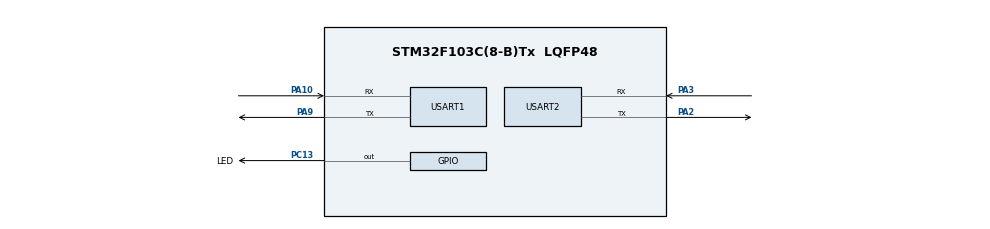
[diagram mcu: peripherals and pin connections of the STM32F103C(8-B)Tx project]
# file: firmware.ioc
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Mcu.Family=STM32F1
Mcu.Name=STM32F103C(8-B)Tx
Mcu.Package=LQFP48
NVIC.PriorityGroup=NVIC_PRIORITYGROUP_4
NVIC.TIM2_IRQn=true\:0\:0\:true\:false\:true\:true\:true\:true
NVIC.TIM3_IRQn=true\:1\:0\:true\:false\:true\:true\:true\:true
NVIC.USART1_IRQn=true\:0\:0\:true\:false\:true\:true\:true\:true
PA10.Mode=Asynchronous
PA10.Signal=USART1_RX
PA13.Mode=Serial_Wire
PA13.Signal=SYS_JTMS-SWDIO
PA14.Mode=Serial_Wire
PA14.Signal=SYS_JTCK-SWCLK
PA2.Mode=Asynchronous
PA2.Signal=USART2_TX
PA3.Mode=Asynchronous
PA3.Signal=USART2_RX
PA9.Mode=Asynchronous
PA9.Signal=USART1_TX
PC13-TAMPER-RTC.GPIO_Label=LED
PC13-TAMPER-RTC.PinState=GPIO_PIN_SET
PC13-TAMPER-RTC.Signal=GPIO_Output
PD0-OSC_IN.Mode=HSE-External-Oscillator
PD0-OSC_IN.Signal=RCC_OSC_IN
PD1-OSC_OUT.Mode=HSE-External-Oscillator
PD1-OSC_OUT.Signal=RCC_OSC_OUT
ProjectManager.HeapSize=0x200
ProjectManager.StackSize=0x400
ProjectManager.TargetToolchain=CMake
RCC.AHBFreq_Value=72000000
RCC.APB1CLKDivider=RCC_HCLK_DIV2
RCC.APB1Freq_Value=36000000
RCC.APB1TimFreq_Value=72000000
RCC.APB2Freq_Value=72000000
RCC.APB2TimFreq_Value=72000000
RCC.HCLKFreq_Value=72000000
RCC.PLLMUL=RCC_PLL_MUL9
RCC.PLLSourceVirtual=RCC_PLLSOURCE_HSE
RCC.SYSCLKFreq_VALUE=72000000
RCC.SYSCLKSource=RCC_SYSCLKSOURCE_PLLCLK
RCC.USBFreq_Value=72000000
TIM2.Period=999
TIM2.Prescaler=71
TIM3.Period=65535
TIM3.Prescaler=71
USART1.VirtualMode=VM_ASYNC
USART2.VirtualMode=VM_ASYNC
VP_TIM2_VS_ClockSourceINT.Mode=Internal
VP_TIM3_VS_ClockSourceINT.Mode=Internal
board=custom

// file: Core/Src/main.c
/* USER CODE BEGIN Header */
/**
 ******************************************************************************
 * @file           : main.c
 * @brief          : Main program body
 ******************************************************************************
 * @attention
 *
 * Copyright (c) 2026 STMicroelectronics.
 * All rights reserved.
 *
 * This software is licensed under terms that can be found in the LICENSE file
 * in the root directory of this software component.
 * If no LICENSE file comes with this software, it is provided AS-IS.
 *
 ******************************************************************************
 */
/* USER CODE END Header */
#include "main.h"
#include "tim.h"
#include "usart.h"
#include "gpio.h"

/* USER CODE BEGIN Includes */
#include <stdint.h>
#include <string.h>
#include <blinky.h>
#include <flash_storage.h>
#include <vscp-fifo.h>
#include <vscp-firmware-helper.h>
#include <vscp-firmware-level2.h>
#include <vscp-link-protocol.h>
#include <vscp-binary-protocol.h>
#include <vscp-link-protocol-callbacks.h>
/* USER CODE END Includes */

/* USER CODE BEGIN PTD */

typedef enum {
  VSCP_STATE_DISCONNECTED = 0, /**< Waiting for a client to connect    */
  VSCP_STATE_CONNECTED,        /**< Client connected, processing cmds  */
} vscp_state_t;

typedef enum {
  VSCP_SUBSTATE_POLL = 0, /**< Polling state */
  VSCP_SUBSTATE_AUTO,     /**< RETR mode */
} vscp_substate_t;

/* USER CODE END PTD */

/* USER CODE BEGIN PD */

// ** Check so one and only one build type is enabled **

/* Convert each define to 0 or 1 */
#ifdef BLINKY_MODE_TCP_SERVER
#define _MODE_TCP_SERVER 1
#else
#define _MODE_TCP_SERVER 0
#endif

#ifdef BLINKY_DEMO_MODE_TCP_CLIENT
#define _OPT_MODE_TCP_CLIENT 1
#else
#define _OPT_MODE_TCP_CLIENT 0
#endif

#ifdef BLINKY_DEMO_MODE_UDP
#define _OPT_MODE_UDP 1
#else
#define _OPT_MODE_UDP 0
#endif

#ifdef BLINKY_DEMO_MODE_MULTICAST
#define _OPT_MODE_MULTICAST 1
#else
#define _OPT_MODE_MULTICAST 0
#endif

#ifdef BLINKY_DEMO_MODE_MQTT
#define _OPT_MODE_MQTT 1
#else
#define _OPT_MODE_MQTT 0
#endif

#define _OPT_COUNT (_MODE_TCP_SERVER + _OPT_MODE_TCP_CLIENT + _OPT_MODE_UDP + _OPT_MODE_MULTICAST + _OPT_MODE_MQTT)

#if _OPT_COUNT > 1
#error                                                                                                                 \
  "Only one of BLINKY_MODE_TCP_SERVER/BLINKY_DEMO_MODE_TCP_CLIENT/BLINKY_DEMO_MODE_UDP/BLINKY_DEMO_MODE_MULTICAST/BLINKY_DEMO_MODE_MQTT may be defined at a time"
#endif

#if _OPT_COUNT != 1
#error                                                                                                                 \
  "Exactly one of BLINKY_MODE_TCP_SERVER/BLINKY_DEMO_MODE_TCP_CLIENT/BLINKY_DEMO_MODE_UDP/BLINKY_DEMO_MODE_MULTICAST/BLINKY_DEMO_MODE_MQTT must be defined"
#endif

/* USER CODE END PD */

/* USER CODE BEGIN PV */

/* Ring buffer for IRQ-driven UART1 RX ------------------------------------ */
#define UART1_RX_BUF_SIZE 2048u /* must be a power of 2 */
static uint8_t uart1_rx_buf[UART1_RX_BUF_SIZE];
static volatile uint16_t uart1_rx_head = 0; /* written by ISR/callback     */
static volatile uint16_t uart1_rx_tail = 0; /* read  by main loop          */
static uint8_t uart1_rx_byte;               /* single-byte DMA target      */

//----------------------------------------------------------------------------
//                         VSCP Link Protocol
//----------------------------------------------------------------------------

/*
  Connect callbacks in op table. This table is passed to the VSCP link protocol handler
  and defines the behavior for various operations.
*/
static const vscp_link_ops_t link_ops = {
  /* ── Transport ──────────────────────────────────────────────── */
  .write_client = vscp_link_callback_write_client,
  .disconnect   = vscp_link_callback_disconnect,
  .quit         = vscp_link_callback_quit,
  .welcome      = vscp_link_callback_welcome,

  /* ── Authentication ─────────────────────────────────────────── */
  .check_user          = vscp_link_callback_check_user,
  .check_password      = vscp_link_callback_check_password,
  .challenge           = vscp_link_callback_challenge,
  .check_authenticated = vscp_link_callback_check_authenticated,
  .check_privilege     = vscp_link_callback_check_privilege,

  /* ── Event I/O ──────────────────────────────────────────────── */
  .send               = vscp_link_callback_send,
  .chkdata            = vscp_link_callback_chkData,
  .clrall             = vscp_link_callback_clrall,
  .retr               = vscp_link_callback_retr,
  .rcvloop            = vscp_link_callback_rcvloop,
  .enable_rcvloop     = vscp_link_callback_enable_rcvloop,
  .get_rcvloop_status = vscp_link_callback_get_rcvloop_status,

  /* ── Node information ───────────────────────────────────────── */
  .get_guid       = vscp_link_callback_get_guid,
  .set_guid       = vscp_link_callback_set_guid,
  .get_version    = vscp_link_callback_get_version,
  .get_channel_id = vscp_link_callback_get_channel_id,
  .wcyd           = vscp_link_callback_wcyd,
  .statistics     = vscp_link_callback_statistics,
  .info           = vscp_link_callback_info,

  /* ── Filter / buffer ────────────────────────────────────────── */
  .set_filter = vscp_link_callback_setFilter,
  .set_mask   = vscp_link_callback_setMask,

  /* ── Interfaces ─────────────────────────────────────────────── */
  .get_interface_count = vscp_link_callback_get_interface_count,
  .get_interface       = vscp_link_callback_get_interface,
  .close_interface     = vscp_link_callback_close_interface,

  /* ── Misc ────────────────────────────────────────────────────── */
  .help_custom = NULL, // OR vscp_link_callback_help,
  .test        = vscp_link_callback_test,
  .shutdown    = vscp_link_callback_shutdown,
  .restart     = vscp_link_callback_restart,

  /* ── Binary mode ─────────────────────────────────────────────── */
  .binary = NULL // vscp_link_callback_binary,
};

/* Context for each possible client connection  */
static vscp_link_ctx_t ctx_link = {
  .next              = NULL,
  .ops               = &link_ops,
  .id                = 0,
  .sock              = 0,
  .guid              = { 0 },
  .user              = { 0 },
  .fifoEventsIn      = { 0 },
  .fifoEventsOut     = { 0 },
  .bValidated        = 0,
  .bRcvLoop          = 0,
  .privLevel         = 0,
  .filter            = { 0 },
  .statistics        = { 0 },
  .status            = { 0 },
  .last_rcvloop_time = 0,
  .user_data         = NULL,
};

//----------------------------------------------------------------------------
//                         VSCP Binary Protocol
//----------------------------------------------------------------------------

/* Binary context for each possible client connection */
static vscp_binary_ctx_t ctx_binary = { 0 };

//----------------------------------------------------------------------------
//                         VSCP Protocol
//----------------------------------------------------------------------------

/* Context for VSCP Level II protocol stack */
static vscp_frmw2_firmware_context_t ctx_firmware = {
  .level    = VSCP_LEVEL2,
  .state    = FRMW2_STATE_NONE,
  .substate = 0,
};

node_persistent_config_t g_persistent;

volatile uint32_t msTicks = 0U; /* incremented every 1 ms by TIM2 ISR */

/* USER CODE END PV */

void
SystemClock_Config(void);
/* USER CODE BEGIN PFP */
static void
uart1_rx_start(void);
static int
uart1_rx_getline(char *out, size_t max_len, uint16_t timeout_ms);
static int
uart1_rx_wait_for(const char *needle, uint16_t timeout_ms);
static int
uart1_rx_scan(const char *needle);
static void
uart1_rx_consume_through(const char *needle);
void
setContextDefaults(ctx_t *pctx);
/* USER CODE END PFP */

/* USER CODE BEGIN 0 */
#include <stdio.h>
#include "usart.h"

//////////////////////////////////////////////////////////////////////////
// Retargeting printf to USART2 for debug output.
// This allows us to use LOGSTR() to send data over USART2,
// which can be useful for debugging purposes. The __io_putchar
// function is called by the LOGSTR() function to output each character,
// and it uses the HAL_UART_Transmit function to send the character over
// USART2. Make sure that USART2 is properly initialized and configured in
// your project for this to work correctly.
//

/*!
 * @brief  Retargets the C library printf function to the USART.
 * @param  ch: Character to be transmitted.
 * @retval The character that was transmitted.
 */

int
__io_putchar(int ch)
{
  HAL_UART_Transmit(&huart2, (uint8_t *) &ch, 1, HAL_MAX_DELAY);
  return ch;
}

/*!
 * @brief  Retargets the C library printf function to the USART.
 * @param  file: File descriptor (not used).
 * @param  ptr: Pointer to the data to be written.
 * @param  len: Length of the data to be written.
 * @retval Number of bytes written.
 */

int
_write(int file, char *ptr, int len)
{
  for (int i = 0; i < len; i++) {
    __io_putchar(*ptr++);
  }
  return len;
}

/*!
 * @brief  Get UART response with timeout (blocking, used during AT init only).
 * @param  buf: Buffer to store the received data.
 * @param  buf_size: Size of the buffer.
 * @param  timeout_ms: Timeout in milliseconds.
 * @retval Number of bytes received, or 0 on timeout.
 */

static size_t
getWizIp20Response(char *buf, size_t buf_size, uint32_t timeout_ms)
{
  memset(buf, 0, buf_size);
  uint16_t rx_len = 0;
  HAL_UARTEx_ReceiveToIdle(&huart1, (uint8_t *) buf, (uint16_t) (buf_size - 1), &rx_len, timeout_ms);
  if (rx_len > 0) {
    buf[rx_len] = '\0';
    LOGSTR("IP20 response: %s\r\n", buf);
  }
  return rx_len;
}

/*!
 * @brief  Re-arm UART1 IRQ for one byte.  Call once at startup and again
 *         from HAL_UART_RxCpltCallback.
 */

static void
uart1_rx_start(void)
{
  HAL_UART_Receive_IT(&huart1, &uart1_rx_byte, 1);
}

/*!
 * @brief  HAL callback – fires after each byte received via UART1 IT.
 *         Stores the byte in the ring buffer and re-arms the IRQ.
 */

void
HAL_UART_RxCpltCallback(UART_HandleTypeDef *huart)
{
  if (huart->Instance == USART1) {
    uint16_t next = (uart1_rx_head + 1u) & (UART1_RX_BUF_SIZE - 1u);
    if (next != uart1_rx_tail) { /* drop byte if buffer full */
      uart1_rx_buf[uart1_rx_head] = uart1_rx_byte;
      uart1_rx_head               = next;
    }
    uart1_rx_start(); /* re-arm for next byte     */
  }
}

/*!
 * @brief  Fetch a \r\n-terminated string from the UART1 ring buffer.
 *
 * The buffer is only consumed when a complete \r\n line is available,
 * so partial data is never discarded on timeout.
 *
 * @param  out        Destination buffer; null-terminated on success.
 * @param  max_len    Size of @p out in bytes (including the null terminator).
 * @param  timeout_ms Wait behaviour:
 *                      0x0000 – return immediately if no complete line yet
 *                      0x0001…0xFFFE – wait up to N milliseconds
 *                      0xFFFF – wait forever
 * @retval  0   A complete \r\n-terminated line was copied into @p out.
 * @retval -1   No complete line available within the specified timeout.
 */

static int
uart1_rx_getline(char *out, size_t max_len, uint16_t timeout_ms)
{
  /* Scan the ring buffer for \r\n without consuming any bytes yet. */
  for (;;) {
    /* --- peek: is there a \r\n somewhere in the buffer? --- */
    uint16_t head  = uart1_rx_head; /* snapshot (volatile, read once) */
    uint16_t idx   = uart1_rx_tail;
    uint8_t found  = 0;
    uint16_t eol   = 0; /* index of '\n' in ring buffer   */
    uint16_t count = 0; /* bytes up to and including '\n' */

    while (idx != head) {
      uint8_t ch = uart1_rx_buf[idx];
      count++;
      if (ch == '\n' && count >= 2 && uart1_rx_buf[(idx - 1u) & (UART1_RX_BUF_SIZE - 1u)] == '\r') {
        found = 1;
        eol   = idx;
        break;
      }
      idx = (idx + 1u) & (UART1_RX_BUF_SIZE - 1u);
    }

    if (found) {
      /* Consume bytes up to and including the '\n'. */
      size_t pos = 0;
      idx        = uart1_rx_tail;
      while (1) {
        uint8_t ch = uart1_rx_buf[idx];
        if (pos < max_len - 1u) {
          out[pos++] = (char) ch;
        }
        idx           = (idx + 1u) & (UART1_RX_BUF_SIZE - 1u);
        uart1_rx_tail = idx;
        if (idx == (uint16_t) ((eol + 1u) & (UART1_RX_BUF_SIZE - 1u)))
          break;
      }
      out[pos] = '\0';
      return 0;
    }

    /* No complete line yet – handle timeout. */
    if (timeout_ms == 0u) {
      return -1; /* no-wait: fail immediately      */
    }
    if (timeout_ms == 0xFFFFu) {
      continue; /* wait forever: keep polling     */
    }

    /* Finite timeout: spin until deadline or line arrives. */
    uint32_t deadline = HAL_GetTick() + timeout_ms;
    while (HAL_GetTick() < deadline) {
      /* re-check ring buffer */
      head  = uart1_rx_head;
      idx   = uart1_rx_tail;
      found = 0;
      count = 0;
      while (idx != head) {
        uint8_t ch = uart1_rx_buf[idx];
        count++;
        if (ch == '\n' && count >= 2 && uart1_rx_buf[(idx - 1u) & (UART1_RX_BUF_SIZE - 1u)] == '\r') {
          found = 1;
          eol   = idx;
          break;
        }
        idx = (idx + 1u) & (UART1_RX_BUF_SIZE - 1u);
      }
      if (found)
        break;
    }
    if (!found)
      return -1; /* timed out                      */
    /* line arrived during finite wait – loop back to consume it        */
    timeout_ms = 0xFFFFu; /* force consume path next iter   */
  }
}

/*!
 * @brief  Wait until @p needle appears anywhere in a received line.
 *
 * Reads complete \r\n-terminated lines from the ring buffer one at a time
 * and checks whether @p needle is a substring of each line.
 * Lines that do not match are discarded.
 *
 * @param  needle      String to search for (case-sensitive substring match).
 * @param  timeout_ms  Same semantics as uart1_rx_getline:
 *                       0x0000 – return immediately if no matching line queued
 *                       0x0001–0xFFFE – wait up to N ms
 *                       0xFFFF – wait forever
 * @retval  0   A line containing @p needle was found.
 * @retval -1   Timeout elapsed without a matching line.
 */

static int __attribute__((unused))
uart1_rx_wait_for(const char *needle, uint16_t timeout_ms)
{
  static char line[100];
  uint32_t deadline = (timeout_ms != 0u && timeout_ms != 0xFFFFu) ? HAL_GetTick() + timeout_ms : 0u;

  for (;;) {
    /* How long to wait for the next line? */
    uint16_t line_timeout;
    if (timeout_ms == 0u) {
      line_timeout = 0u; /* no-wait              */
    }
    else if (timeout_ms == 0xFFFFu) {
      line_timeout = 0xFFFFu; /* wait forever         */
    }
    else {
      uint32_t now = HAL_GetTick();
      if (now >= deadline)
        return -1; /* overall timeout      */
      uint32_t left = deadline - now;
      line_timeout  = (left > 0xFFFEu) ? 0xFFFEu : (uint16_t) left;
    }

    if (uart1_rx_getline(line, sizeof(line), line_timeout) != 0) {
      return -1; /* no line / timed out  */
    }

    if (strstr(line, needle) != NULL) {
      return 0; /* match found          */
    }
    /* line didn't match – discard and try again (unless no-wait) */
    if (timeout_ms == 0u)
      return -1;
  }
}

/*!
 * @brief  Scan the ring buffer for @p needle without consuming any bytes.
 * @retval 0  Needle found in the buffer.
 * @retval -1 Needle not present.
 */

static int
uart1_rx_scan(const char *needle)
{
  size_t nlen   = strlen(needle);
  uint16_t head = uart1_rx_head; /* snapshot */
  uint16_t idx  = uart1_rx_tail;
  size_t mpos   = 0; /* match position within needle */

  while (idx != head) {
    if ((char) uart1_rx_buf[idx] == needle[mpos]) {
      mpos++;
      if (mpos == nlen)
        return 0; /* full match */
    }
    else {
      mpos = 0;
      /* re-check current char against needle[0] */
      if ((char) uart1_rx_buf[idx] == needle[0])
        mpos = 1;
    }
    idx = (idx + 1u) & (UART1_RX_BUF_SIZE - 1u);
  }
  return -1;
}

/*!
 * @brief  Consume bytes from the ring buffer up to and including the first occurrence of @p needle.
 *
 * This function scans the ring buffer for the first occurrence of @p needle (a string), and if found, advances the
 * tail pointer to consume all bytes up to and including that occurrence. If @p needle is not found, the buffer is
 * left unchanged.
 *
 * @param  needle  String to search for (case-sensitive substring match).
 */
static void
uart1_rx_consume_through(const char *needle)
{
  size_t nlen   = strlen(needle);
  uint16_t head = uart1_rx_head; /* snapshot */
  uint16_t idx  = uart1_rx_tail;
  size_t mpos   = 0;

  while (idx != head) {
    if ((char) uart1_rx_buf[idx] == needle[mpos]) {
      mpos++;
      idx = (idx + 1u) & (UART1_RX_BUF_SIZE - 1u);
      if (mpos == nlen) {
        uart1_rx_tail = idx; /* consume up to end of needle */
        return;
      }
    }
    else {
      mpos = 0;
      if ((char) uart1_rx_buf[idx] == needle[0]) {
        mpos = 1;
      }
      idx = (idx + 1u) & (UART1_RX_BUF_SIZE - 1u);
    }
  }
}

/*!
 * @brief  Get the unique identifier and set (GUID) for the device.
 *
 * VSCP reserves a group of GUID's for MCU's with a built-in unique ID,
 * where the GUID is constructed from a fixed prefix.
 *
 * One other possibility was to use the WIZnet's MAC address and the
 * reserved GUID prefix to construct a GUID built here we use the unique
 * MCU ID instead since it's guaranteed to be unique and doesn't require
 * an extra step to read the MAC address from the WIZnet.
 *
 * More info on VSCP GUID construction for MCU-based devices here:
 * https://grodansparadis.github.io/vscp-doc-spec/#/./vscp_globally_unique_identifiers
 *
 *This GUID is constructed like this
 *
 * FD:AA:BB:YY:YY:YY:YY:YY:YY:YY:YY:YY:YY:YY:YY:YY
 *
 * AA is a manufacturer code assigned by VSCP (02 for STMicroelectronics)
 *
 * BB is a device type code assigned by VSCP (01 for STM32)
 *
 * The 13 byte YY:YY:YY:YY:YY:YY:YY:YY:YY:YY:YY:YY:YY is something we can
 * define freely as long as it's unique for each device. We can get 12 byte
 * from the unique MCU ID using the HAL_GetUIDw0(), HAL_GetUIDw1(),
 * and HAL_GetUIDw2() functions. Then we can set the last byte to zero.
 *
 * @param  pguid: Pointer to a 16-byte array where the GUID will be stored.
 */

void
setGUID(uint8_t *pguid)
{
  uint32_t uid;

  memset(pguid, 0, 16); /* Clear the GUID buffer */
  pguid[0] = 0xFD;      /* VSCP reserved prefix for MCU-based GUIDs */
  pguid[1] = 0x02;      /* Manufacturer code for STMicroelectronics */
  pguid[2] = 0x01;      /* Device type code for STM32 */

  uid      = HAL_GetUIDw2(); // Words 2 (bits 95:64)
  pguid[3] = (uid >> 24) & 0xFF;
  pguid[4] = (uid >> 16) & 0xFF;
  pguid[5] = (uid >> 8) & 0xFF;
  pguid[6] = uid & 0xFF;

  uid       = HAL_GetUIDw0(); // Words 0 (bits 31:0)
  pguid[7]  = (uid >> 24) & 0xFF;
  pguid[8]  = (uid >> 16) & 0xFF;
  pguid[9]  = (uid >> 8) & 0xFF;
  pguid[10] = uid & 0xFF;

  uid       = HAL_GetUIDw1(); // Words 1 (bits 63:32)
  pguid[11] = (uid >> 24) & 0xFF;
  pguid[12] = (uid >> 16) & 0xFF;
  pguid[13] = (uid >> 8) & 0xFF;
  pguid[14] = uid & 0xFF;

  pguid[15] = 0; // Last byte set to zero
}

/*!
 * @brief  Initialize the VSCP link context with default values.
 * @param  pctx: Pointer to the context structure to initialize.
 *
 * As we only have one channel we can get away with a single global context
 * object, but we define this function to set defaults for it and to reset
 * it between connections if needed.
 */

void
setContextDefaults(ctx_t *pctx)
{
  memset(pctx, 0, sizeof(ctx_t));
  pctx->id   = 0;
  pctx->sock = 0;
  memset(pctx->user, 0, VSCP_LINK_MAX_USER_NAME_LENGTH);
  setGUID(pctx->guid);
  vscp_fifo_init(&pctx->fifoEventsOut, VSCP_LINK_MAX_OUT_FIFO_SIZE);
  vscp_fifo_init(&pctx->fifoEventsIn, VSCP_LINK_MAX_IN_FIFO_SIZE);
  pctx->bValidated = 0; // No credentials yet
  pctx->privLevel  = 0; // No privileges before we are logged in
  pctx->bRcvLoop   = 0; // Polling mode by default, can switch to RETR after login if desired
  memset(&pctx->filter, 0, sizeof(vscpEventFilter));       // All events is received by client
  memset(&pctx->statistics, 0, sizeof(vscp_statistics_t)); // VSCP Statistics
  memset(&pctx->status, 0, sizeof(vscp_status_t));         // VSCP status
  pctx->last_rcvloop_time = 0;
}

/*!
 * @brief  Reset the VSCP link context to default values for a new connection.
 * @param  pctx: Pointer to the context structure to reset.
 *
 * This function is similar to setContextDefaults but is intended to be called
 * when resetting the context for a new client connection, without changing
 * fields that should persist across connections (like the GUID).
 *
 * Note: In this simple example we only support one client at a time, so we
 * don't actually need to preserve any fields across connections, but in a more
 * complex implementation with multiple clients you might want to keep certain
 * fields unchanged when resetting for a new connection.
 */

void
resetContextDefaults(ctx_t *pctx)
{
  pctx->bValidated = 0; // No credentials yet
  pctx->privLevel  = 0; // No privileges before we are logged in
  pctx->bRcvLoop   = 0; // Polling mode by default, can switch to RETR after login if desired
  memset(&pctx->filter, 0, sizeof(vscpEventFilter));       // All events is received by client
  memset(&pctx->statistics, 0, sizeof(vscp_statistics_t)); // VSCP Statistics
  memset(&pctx->status, 0, sizeof(vscp_status_t));         // VSCP status
  pctx->last_rcvloop_time = 0;

  // Drain the fifos
  vscp_fifo_clear(&pctx->fifoEventsOut);
  vscp_fifo_clear(&pctx->fifoEventsIn);
}

/*!
 * @brief  Enter WIZnet IP20 command mode and wait for the "CMD" response.
 *
 * The WIZnet IP20 module uses an AT command interface for configuration. To send
 * AT commands, we first need to enter command mode by sending "+++" with a guard
 * time before and after. After sending "+++", we wait for the "CMD" response to
 * confirm that we are in command mode before proceeding with further configuration.
 *
 * @retval 0 if successfully entered command mode, -1 on timeout or error.
 */
int
wiznet_ip20_command_mode(void)
{
  size_t rx_len;

  char buf[80];

  LOGSTR("WIZnet IP20 enter command mode:      \r\n");

  // Enter command mode: guard time, "+++", guard time
  HAL_Delay(500); // guard time before
  HAL_UART_Transmit(&huart1, (uint8_t *) "+++", 3, HAL_MAX_DELAY);
  HAL_Delay(500); // guard time after
  // rx_len = getWizIp20Response(buf, sizeof(buf), 1000);
  if (0 == uart1_rx_getline(buf, sizeof(buf), 1000)) {
    LOGSTR("Received response after +++: %s\r\n", buf);
    if (strstr(buf, "SEG:AT Mode") == 0) {
      LOGSTR("Entered command mode successfully %s\r\n", buf);
      return 0;
    }
  }

  LOGSTR("Failed to enter command mode (maybe already in command mode)\r\n");

  // If already in command mode this will give error but we get back to command mode anyway so we can ignore it
  HAL_UART_Transmit(&huart1, (uint8_t *) "\r\n", 2, HAL_MAX_DELAY);
  uart1_rx_getline(buf, sizeof(buf), 1000); // Clear any response from the "+++" command

  return 0;
}

/*!
  * @brief  Save WIZnet IP20 configuration to non-volatile memory.
  *
  * After configuring the WIZnet IP20 module with the desired settings using AT commands, we need to save the configuration
  * to non-volatile memory so that it persists across power cycles. This function sends the appropriate AT command to
  * trigger the save operation on the WIZnet IP20 module. The exact command may depend on the module's firmware version,
  * so you should refer to the WIZnet IP20 documentation for the correct command to use for saving the configuration.
  *
  * Note: This function assumes that you are already in command mode before calling it.
  *
  * @retval None
  */

void wiznet_ip20_save(void)
{
  // For some strange reason two SV is needed to really save
  HAL_UART_Transmit(&huart1, (uint8_t *) "SV\r\nSV\r\n", 8, HAL_MAX_DELAY);
}

/*!
  * @brief  Restart the WIZnet IP20 module to apply new settings.
  *
  * After saving the configuration, we need to restart the WIZnet IP20 module for the new settings to take effect. This
  * function sends the appropriate AT command to trigger a restart of the module. The exact command may depend on the
  * module's firmware version, so you should refer to the WIZnet IP20 documentation for the correct command to use for
  * restarting the module.
  *
  * Note: This function assumes that you are already in command mode before calling it.
  *
  * @retval None
*/
void wiznet_ip20_restart(void)
{
  char buf[80];
  HAL_UART_Transmit(&huart1, (uint8_t *) "RT\r\n", 8, HAL_MAX_DELAY);
  if (0 == uart1_rx_getline(buf, sizeof(buf), 1000)) {
     LOGSTR("Response: %s\r\n", buf);
  }
}

/*!
  * @brief  Send an AT command to the WIZnet IP20 module and wait for a response.
  *
  * This function sends a specified AT command string to the WIZnet IP20 module over UART1 and waits for a response. The
  * response is expected to be a complete line terminated by \r\n. The function uses the uart1_rx_getline() helper function
  * to read the response from the ring buffer with a specified timeout. If a response is received within the timeout, it
  * is stored in the provided response buffer and the function returns success. If no response is received within the
  * timeout, the function returns failure.
  *
  * Note: This function assumes that you are already in command mode before calling it.
  *
  * @param cmd                The AT command string to send (should include \r\n if required by the command).
  * @param response_buf       Buffer to store the received response (should be large enough to hold expected responses).
  * @param response_buf_size  Size of the response buffer in bytes.
  * @param timeout_ms         Timeout in milliseconds to wait for a response.
  * @retval int               Returns 1 on success (response received), or 0 on failure (timeout or error).
*/
int
wiznet_ip20_send_command(const char *cmd, char *response_buf, size_t response_buf_size, uint16_t timeout_ms)
{
  LOGSTR("WIZnet IP20 send command: %s\r\n", cmd);
  HAL_UART_Transmit(&huart1, (uint8_t *) cmd, strlen(cmd), HAL_MAX_DELAY);
  if (-1 == uart1_rx_getline(response_buf, response_buf_size, timeout_ms)) {
    LOGSTR("Failed to send command: %s\r\n", cmd);
    return 0;
  }
  return 1;
}

///////////////////////////////////////////////////////////////////////////////
// validate_user
//
int
validate_user(const char *user, const char *password)
{
  // For demonstration purposes, we accept a single hardcoded username/password.
  // In a real implementation, you should check against securely stored credentials.
  const char *valid_user     = "vscp";
  const char *valid_password = "secret";

  return (strcmp(user, valid_user) == 0) && (strcmp(password, valid_password) == 0);
}

/*!
 * @brief  Initialize the WIZnet IP20 module with the desired network settings and link protocol configuration.
 *
 * This function sends a series of AT commands to the WIZnet IP20 module over UART1 to configure its network settings
 * (IP address, netmask, gateway, DNS) and link protocol parameters (port, operation mode, connect/disconnect strings,
 * etc.) according to the defined constants. It uses the sendCommand() helper function to send each command and wait for
 * a response. The exact commands sent depend on the specific configuration you want for your application, and you
 * should refer to the WIZnet IP20 documentation for details on the available AT commands and their syntax.
 *
 * Note: This function assumes that you have already entered command mode using goCommandMode() before calling it.
 *
 * @retval VSCP_ERROR_SUCCESS if initialization was successful, VSCP error code on error.
 */
int
init_wiznet_ip20(void)
{
  char buf[100];
  size_t rx_len;

  // Set IP address
  HAL_UART_Transmit(&huart1, (uint8_t *) WIZ_IP20_IP, strlen(WIZ_IP20_IP), HAL_MAX_DELAY);

  // Set netmask
  HAL_UART_Transmit(&huart1, (uint8_t *) WIZ_IP20_NETMASK, strlen(WIZ_IP20_NETMASK), HAL_MAX_DELAY);

  // Set gateway
  HAL_UART_Transmit(&huart1, (uint8_t *) WIZ_IP20_GATEWAY, strlen(WIZ_IP20_GATEWAY), HAL_MAX_DELAY);

  // Set DNS server
  HAL_UART_Transmit(&huart1, (uint8_t *) WIZ_IP20_DNS, strlen(WIZ_IP20_DNS), HAL_MAX_DELAY);

  // Set IP allocation mode
  HAL_UART_Transmit(&huart1,
                    (uint8_t *) WIZ_IP20_IP_ALLOCATION_METHOD,
                    strlen(WIZ_IP20_IP_ALLOCATION_METHOD),
                    HAL_MAX_DELAY);

  // Set port
  HAL_UART_Transmit(&huart1, (uint8_t *) WIZ_IP20_PORT, strlen(WIZ_IP20_PORT), HAL_MAX_DELAY);

  // Set operation mode
  HAL_UART_Transmit(&huart1, (uint8_t *) WIZ_IP20_OPERATION_MODE, strlen(WIZ_IP20_OPERATION_MODE), HAL_MAX_DELAY);

  // Set connect string
  HAL_UART_Transmit(&huart1, (uint8_t *) WIZ_IP20_LINK_CONNECT_STR, strlen(WIZ_IP20_LINK_CONNECT_STR), HAL_MAX_DELAY);

  // Set disconnect string
  HAL_UART_Transmit(&huart1,
                    (uint8_t *) WIZ_IP20_LINK_DISCONNECT_STR,
                    strlen(WIZ_IP20_LINK_DISCONNECT_STR),
                    HAL_MAX_DELAY);

  // Set Ethernet connect string
  HAL_UART_Transmit(&huart1,
                    (uint8_t *) WIZ_IP20_LINK_ETH_CONNECT_STR,
                    strlen(WIZ_IP20_LINK_ETH_CONNECT_STR),
                    HAL_MAX_DELAY);

#if defined(BLINKY_MODE_TCP_CLIENT) || defined(BLINKY_MODE_MQTT)
  // Remote host
  HAL_UART_Transmit(&huart1, (uint8_t *) WIZ_IP20_REMOTE_HOST_IP, strlen(WIZ_IP20_REMOTE_HOST_IP), HAL_MAX_DELAY);

  // Remote port
  HAL_UART_Transmit(&huart1, (uint8_t *) WIZ_IP20_REMOTE_HOST_PORT, strlen(WIZ_IP20_REMOTE_HOST_PORT), HAL_MAX_DELAY);

  // TCP client reconnect interval
  HAL_UART_Transmit(&huart1,
                    (uint8_t *) WIZ_IP20_LINK_CLIENT_RECONNECT,
                    strlen(WIZ_IP20_LINK_CLIENT_RECONNECT),
                    HAL_MAX_DELAY);
#endif

  // Data packing time in milliseconds
  HAL_UART_Transmit(&huart1, (uint8_t *) WIZ_IP20_LINK_PACKING_TIME, strlen(WIZ_IP20_LINK_PACKING_TIME), HAL_MAX_DELAY);

  // Data packing size in bytes (0 not used)
  HAL_UART_Transmit(&huart1, (uint8_t *) WIZ_IP20_LINK_PACKING_SIZE, strlen(WIZ_IP20_LINK_PACKING_SIZE), HAL_MAX_DELAY);

  // Data packing char (0 not used, 0x0a = newline) The designated character is not included in data.
  HAL_UART_Transmit(&huart1, (uint8_t *) WIZ_IP20_LINK_PACKING_CHAR, strlen(WIZ_IP20_LINK_PACKING_CHAR), HAL_MAX_DELAY);

  // Inactivity time in seconds (0 not used)
  HAL_UART_Transmit(&huart1, (uint8_t *) WIZ_IP20_LINK_INACTIVITY, strlen(WIZ_IP20_LINK_INACTIVITY), HAL_MAX_DELAY);

  // Retry count (0 not used)
  // HAL_UART_Transmit(&huart1, (uint8_t *) WIZ_IP20_LINK_RETRY_CNT, strlen(WIZ_IP20_LINK_RETRY_CNT), HAL_MAX_DELAY);

  // Keep alive (0 not used, 1 = enabled)
  HAL_UART_Transmit(&huart1, (uint8_t *) WIZ_IP20_LINK_KEEP_ALIVE, strlen(WIZ_IP20_LINK_KEEP_ALIVE), HAL_MAX_DELAY);

  // Keep alive interval in milliseconds
  HAL_UART_Transmit(&huart1,
                    (uint8_t *) WIZ_IP20_LINK_KEEP_ALIVE_INTERVAL,
                    strlen(WIZ_IP20_LINK_KEEP_ALIVE_INTERVAL),
                    HAL_MAX_DELAY);

  // Keep alive retry interval in milliseconds
  HAL_UART_Transmit(&huart1,
                    (uint8_t *) WIZ_IP20_LINK_KEEP_ALIVE_RETRY_INTERVAL,
                    strlen(WIZ_IP20_LINK_KEEP_ALIVE_RETRY_INTERVAL),
                    HAL_MAX_DELAY);

  // SSL close (0 not used, 1 = enabled)
  HAL_UART_Transmit(&huart1, (uint8_t *) WIZ_IP20_LINK_SSL_CLOSE, strlen(WIZ_IP20_LINK_SSL_CLOSE), HAL_MAX_DELAY);

  // Password for TCP server (0 not used)
  HAL_UART_Transmit(&huart1,
                    (uint8_t *) WIZ_IP20_TCPSRV_ENABLE_PASSWORD,
                    strlen(WIZ_IP20_TCPSRV_ENABLE_PASSWORD),
                    HAL_MAX_DELAY);

  // #Password for TCP server (max 8 characters)
  // HAL_UART_Transmit(&huart1,
  //                   (uint8_t *) WIZ_IP20_TCPSRV_SET_PASSWORD,
  //                   strlen(WIZ_IP20_TCPSRV_SET_PASSWORD),
  //                   HAL_MAX_DELAY);

  // Search id code
  // HAL_UART_Transmit(&huart1, (uint8_t *) WIZ_IP20_SEARCH_ID_CODE, strlen(WIZ_IP20_SEARCH_ID_CODE), HAL_MAX_DELAY);

  // Enable debug messages (0 not used, 1 = enabled)
  HAL_UART_Transmit(&huart1, (uint8_t *) WIZ_IP20_DEBUG_ENABLE, strlen(WIZ_IP20_DEBUG_ENABLE), HAL_MAX_DELAY);

  // MQTT settings (not used here)
#ifdef BLINKY_DEMO_MODE_MQTT
  // QUmqtt_user\r\n MQTT username (max 128 characters)
  HAL_UART_Transmit(&huart1, (uint8_t *) WIZ_IP20_MQTT_USER, strlen(WIZ_IP20_MQTT_USER), HAL_MAX_DELAY);

  // QPmqtt_password\r\n MQTT password (max 128 characters)
  HAL_UART_Transmit(&huart1, (uint8_t *) WIZ_IP20_MQTT_PASSWORD, strlen(WIZ_IP20_MQTT_PASSWORD), HAL_MAX_DELAY);

  // QCmqtt_client_id\r\n MQTT client ID (max 128 characters)
  HAL_UART_Transmit(&huart1, (uint8_t *) WIZ_IP20_MQTT_CLIENT_ID, strlen(WIZ_IP20_MQTT_CLIENT_ID), HAL_MAX_DELAY);

  // QK0\r\n MQTT keep alive (0 not used, 1 = enabled)
  HAL_UART_Transmit(&huart1, (uint8_t *) WIZ_IP20_MQTT_KEEP_ALIVE, strlen(WIZ_IP20_MQTT_KEEP_ALIVE), HAL_MAX_DELAY);

  // QQ0\r\n MQTT QoS (0, 1, or 2)
  HAL_UART_Transmit(&huart1, (uint8_t *) WIZ_IP20_MQTT_QOS, strlen(WIZ_IP20_MQTT_QOS), HAL_MAX_DELAY);

  // Publish topic\r\n MQTT publish topic (max 128 characters)
  HAL_UART_Transmit(&huart1, (uint8_t *) WIZ_IP20_MQTT_PUB_TOPIC, strlen(WIZ_IP20_MQTT_PUB_TOPIC), HAL_MAX_DELAY);

  // MQTT subscribe topic 1 (max 128 characters)
  HAL_UART_Transmit(&huart1, (uint8_t *) WIZ_IP20_MQTT_SUB_TOPIC0, strlen(WIZ_IP20_MQTT_SUB_TOPIC0), HAL_MAX_DELAY);

  // MQTT subscribe topic 2 (max 128 characters)
  HAL_UART_Transmit(&huart1, (uint8_t *) WIZ_IP20_MQTT_SUB_TOPIC1, strlen(WIZ_IP20_MQTT_SUB_TOPIC1), HAL_MAX_DELAY);

  // MQTT subscribe topic 3 (max 128 characters)
  HAL_UART_Transmit(&huart1, (uint8_t *) WIZ_IP20_MQTT_SUB_TOPIC2, strlen(WIZ_IP20_MQTT_SUB_TOPIC2), HAL_MAX_DELAY);

#endif

  return VSCP_ERROR_SUCCESS;
}

/*!
 * @brief  Show the current WIZnet IP20 settings by querying the module and printing the results.
 *
 * This function sends a series of AT commands to the WIZnet IP20 module to query its current configuration settings
 * (such as IP address, netmask, gateway, DNS, operation mode, etc.) and prints the responses to the console. This can
 * be useful for debugging and verifying that the module is configured correctly after initialization.
 *
 * Note: This function assumes that you have already entered command mode using goCommandMode() before calling it.
 *
 * @retval VSCP_ERROR_SUCCESS if settings were successfully queried and displayed, VSCP error code on error.
 */

int
show_wiznet_ip20_settings(void)
{
  char buf[100];
  size_t rx_len;

  LOGSTR("WIZnet IP20 current settings:\r\n");

  // Query product name
  HAL_UART_Transmit(&huart1, (uint8_t *) "MN\r\n", 4, HAL_MAX_DELAY);
  if (0 == uart1_rx_getline(buf, sizeof(buf), 5000)) {
    LOGSTR("Response: %s\r\n", buf);
  }

  // Query firmware version
  HAL_UART_Transmit(&huart1, (uint8_t *) "VR\r\n", 4, HAL_MAX_DELAY);
  if (0 == uart1_rx_getline(buf, sizeof(buf), 5000)) {
    LOGSTR("Response: %s\r\n", buf);
  }

  // Query MAC address
  HAL_UART_Transmit(&huart1, (uint8_t *) "MC\r\n", 4, HAL_MAX_DELAY);
  if (0 == uart1_rx_getline(buf, sizeof(buf), 5000)) {
    LOGSTR("Response: %s\r\n", buf);
  }

  // Query operation mode
  HAL_UART_Transmit(&huart1, (uint8_t *) "OP\r\n", 4, HAL_MAX_DELAY);
  if (0 == uart1_rx_getline(buf, sizeof(buf), 5000)) {
    LOGSTR("Response: %s\r\n", buf);
  }

  // Get connect string
  HAL_UART_Transmit(&huart1, (uint8_t *) "SD\r\n", 4, HAL_MAX_DELAY);
  if (0 == uart1_rx_getline(buf, sizeof(buf), 5000)) {
    LOGSTR("Response: %s\r\n", buf);
  }

  // Get connect string
  HAL_UART_Transmit(&huart1, (uint8_t *) "DD\r\n", 4, HAL_MAX_DELAY);
  if (0 == uart1_rx_getline(buf, sizeof(buf), 5000)) {
    LOGSTR("Response: %s\r\n", buf);
  }

  // Get UART interface
  HAL_UART_Transmit(&huart1, (uint8_t *) "UN\r\n", 4, HAL_MAX_DELAY);
  if (0 == uart1_rx_getline(buf, sizeof(buf), 5000)) {
    LOGSTR("Response: %s\r\n", buf);
  }

  // Get local IP address
  HAL_UART_Transmit(&huart1, (uint8_t *) "LI\r\n", 4, HAL_MAX_DELAY);
  if (0 == uart1_rx_getline(buf, sizeof(buf), 5000)) {
    LOGSTR("Response: %s\r\n", buf);
  }

  // Get local subnet mask
  HAL_UART_Transmit(&huart1, (uint8_t *) "SM\r\n", 4, HAL_MAX_DELAY);
  if (0 == uart1_rx_getline(buf, sizeof(buf), 5000)) {
    LOGSTR("Response: %s\r\n", buf);
  }

  // Get local gateway IP address
  HAL_UART_Transmit(&huart1, (uint8_t *) "GW\r\n", 4, HAL_MAX_DELAY);
  if (0 == uart1_rx_getline(buf, sizeof(buf), 5000)) {
    LOGSTR("Response: %s\r\n", buf);
  }
  // Get local DNS IP address
  HAL_UART_Transmit(&huart1, (uint8_t *) "DS\r\n", 4, HAL_MAX_DELAY);
  if (0 == uart1_rx_getline(buf, sizeof(buf), 5000)) {
    LOGSTR("Response: %s\r\n", buf);
  }

  // Get local port number
  HAL_UART_Transmit(&huart1, (uint8_t *) "LP\r\n", 4, HAL_MAX_DELAY);
  if (0 == uart1_rx_getline(buf, sizeof(buf), 5000)) {
    LOGSTR("Response: %s\r\n", buf);
  }

  HAL_UART_Transmit(&huart1, (uint8_t *) "\r\n", 4, HAL_MAX_DELAY);
  if (0 == uart1_rx_getline(buf, sizeof(buf), 5000)) {
    LOGSTR("Response: %s\r\n", buf);
  }

  return VSCP_ERROR_SUCCESS;
}

/* USER CODE END 0 */

int
main(void)
{
  /* USER CODE BEGIN 1 */
  char buf[100]; // Buffer for AT command responses and incoming data
  size_t rx_len;
  (void) rx_len;                  // only used to capture AT response lengths during init
  uint32_t led_blink_until   = 0; // LED blink timestamp
  vscp_state_t vscp_state    = VSCP_STATE_DISCONNECTED;
  vscp_state_t vscp_substate = VSCP_SUBSTATE_POLL;
  /* USER CODE END 1 */

  /* MCU Configuration--------------------------------------------------------*/

  /* Reset of all peripherals, Initializes the Flash interface and the Systick. */
  HAL_Init();

  /* Configure the system clock */
  SystemClock_Config();

  /* Initialize all configured peripherals */
  MX_GPIO_Init();
  MX_USART1_UART_Init();
  MX_TIM2_Init();
  MX_TIM3_Init();
  MX_USART2_UART_Init();
  /* USER CODE BEGIN 2 */

  /* Start TIM2 in interrupt mode — fires every 1 ms */
  if (HAL_TIM_Base_Start_IT(&htim2) != HAL_OK) {
    Error_Handler();
  }

  /* Start TIM3 — free-running 1 µs counter, overflow interrupt for 32-bit extension */
  if (HAL_TIM_Base_Start_IT(&htim3) != HAL_OK) {
    Error_Handler();
  }

  // Switch to IRQ-driven receive for data mode
  uart1_rx_start();

  // Initialize context for client connections
  // setContextDefaults(&ctx[0]);

  /*
    * WIZ-IP20 initialization sequence (AT command mode, blocking)
      We use blocking calls here for simplicity since this only runs once at startup.

      Commands are here: https://docs.wiznet.io/Product/Modules/Serial-to-Ethernet-Module/W232N/command-manual-en
  */

  // rx_len = getWizIp20Response(buf, sizeof(buf), 10);

  wiznet_ip20_command_mode();
  init_wiznet_ip20();
  show_wiznet_ip20_settings();
  wiznet_ip20_save();
  wiznet_ip20_restart();

  // Debug print to indicate that the program has started
  LOGSTR("STM32F103 Wiznet IP20 VSCP blink demo starting\r\n");

  /* USER CODE END 2 */

  /* Infinite loop */
  while (1) {

    /* USER CODE BEGIN 3 */

    /* ------------------------------------------------------------------
     * State machine – scan ring buffer for control tokens (no \r\n needed)
     * ----------------------------------------------------------------*/
    switch (vscp_state) {

      case VSCP_STATE_DISCONNECTED:
        if (uart1_rx_scan("<CONNECT>") == 0) {
          uart1_rx_consume_through("<CONNECT>");
          LOGSTR("Received <CONNECT>\r\n");
          HAL_GPIO_WritePin(GPIOC, GPIO_PIN_13, GPIO_PIN_RESET);
          led_blink_until      = HAL_GetTick() + 50u;
          const char welcome[] = "Welcome to the VSCP daemon on ST32 + Wiznet IP20.\r\n"
                                 "Version: 0.0.1\r\n"
                                 "Copyright (c) 2000-2026 Ake Hedman, Grodans \r\n"
                                 "Paradis AB, https://www.grodansparadis.com\r\n"
                                 "+OK - Success.\r\n";
          HAL_UART_Transmit(&huart1, (uint8_t *) welcome, sizeof(welcome) - 1, HAL_MAX_DELAY);
          vscp_state = VSCP_STATE_CONNECTED;
          LOGSTR("State: DISCONNECTED -> CONNECTED\r\n");
        }
        else {
          /* Discard any \r\n-terminated lines that aren't <CONNECT> */
          uart1_rx_getline(buf, sizeof(buf), 0);
        }
        break;

      case VSCP_STATE_CONNECTED:
        if (uart1_rx_scan("<DISCONNECT>") == 0) {
          uart1_rx_consume_through("<DISCONNECT>");
          LOGSTR("Received <DISCONNECT>\n");
          HAL_GPIO_WritePin(GPIOC, GPIO_PIN_13, GPIO_PIN_RESET);
          led_blink_until = HAL_GetTick() + 50u;
          HAL_UART_Transmit(&huart1, (uint8_t *) "+OK - Disconnect.\r\n", 19, HAL_MAX_DELAY);
          vscp_state = VSCP_STATE_DISCONNECTED;
          LOGSTR("State: CONNECTED -> DISCONNECTED\r\n");
        }
        else if (uart1_rx_getline(buf, sizeof(buf), 0) == 0) {
          /* Consume and log incoming VSCP commands */
          LOGSTR("VSCP cmd: %s", buf);
          HAL_GPIO_WritePin(GPIOC, GPIO_PIN_13, GPIO_PIN_RESET);
          led_blink_until = HAL_GetTick() + 50u;
          vscp_link_parser(&ctx_link, buf);
        }
        break;

      default:
        vscp_state = VSCP_STATE_DISCONNECTED;
        break;
    }

    /* Turn LED off after 50 ms blink */
    if (led_blink_until != 0u && HAL_GetTick() >= led_blink_until) {
      HAL_GPIO_WritePin(GPIOC, GPIO_PIN_13, GPIO_PIN_SET); /* LED off */
      led_blink_until = 0u;
    }

    /* Toggle the state of pin 13 on GPIO port C */
    // if ((HAL_GetTick() - now) >= 500) {
    //   now = HAL_GetTick();
    //   HAL_GPIO_TogglePin(GPIOC, GPIO_PIN_13);
    //   LOGSTR("Super\r\n"); // Print "Super" to the ITM console
    //   const char msg[] = "hello\r\n";
    //   HAL_UART_Transmit(&huart2, (uint8_t *) msg, sizeof(msg) - 1, HAL_MAX_DELAY);
    // }

    /* Wait for 500 milliseconds */
    // HAL_Delay(500);
  }
  /* USER CODE END 3 */
}

void
SystemClock_Config(void)
{
  RCC_OscInitTypeDef RCC_OscInitStruct = { 0 };
  RCC_ClkInitTypeDef RCC_ClkInitStruct = { 0 };

  /** Initializes the RCC Oscillators according to the specified parameters
   * in the RCC_OscInitTypeDef structure.
   */
  RCC_OscInitStruct.OscillatorType = RCC_OSCILLATORTYPE_HSE;
  RCC_OscInitStruct.HSEState       = RCC_HSE_ON;
  RCC_OscInitStruct.HSEPredivValue = RCC_HSE_PREDIV_DIV1;
  RCC_OscInitStruct.HSIState       = RCC_HSI_ON;
  RCC_OscInitStruct.PLL.PLLState   = RCC_PLL_ON;
  RCC_OscInitStruct.PLL.PLLSource  = RCC_PLLSOURCE_HSE;
  RCC_OscInitStruct.PLL.PLLMUL     = RCC_PLL_MUL9;
  if (HAL_RCC_OscConfig(&RCC_OscInitStruct) != HAL_OK) {
    Error_Handler();
  }

  /** Initializes the CPU, AHB and APB buses clocks
   */
  RCC_ClkInitStruct.ClockType = RCC_CLOCKTYPE_HCLK | RCC_CLOCKTYPE_SYSCLK | RCC_CLOCKTYPE_PCLK1 | RCC_CLOCKTYPE_PCLK2;
  RCC_ClkInitStruct.SYSCLKSource   = RCC_SYSCLKSOURCE_PLLCLK;
  RCC_ClkInitStruct.AHBCLKDivider  = RCC_SYSCLK_DIV1;
  RCC_ClkInitStruct.APB1CLKDivider = RCC_HCLK_DIV2;
  RCC_ClkInitStruct.APB2CLKDivider = RCC_HCLK_DIV1;

  if (HAL_RCC_ClockConfig(&RCC_ClkInitStruct, FLASH_LATENCY_2) != HAL_OK) {
    Error_Handler();
  }
}

void
Error_Handler(void)
{
  __disable_irq();
  while (1) {}
}
#ifdef USE_FULL_ASSERT
/**
 * @brief  Reports the name of the source file and the source line number
 *         where the assert_param error has occurred.
 * @param  file: pointer to the source file name
 * @param  line: assert_param error line source number
 * @retval None
 */
void
assert_failed(uint8_t *file, uint32_t line)
{
  /* USER CODE BEGIN 6 */
  /* User can add his own implementation to report the file name and line number,
     ex: LOGSTR("Wrong parameters value: file %s on line %d\r\n", file, line) */
  /* USER CODE END 6 */
}
#endif /* USE_FULL_ASSERT */
